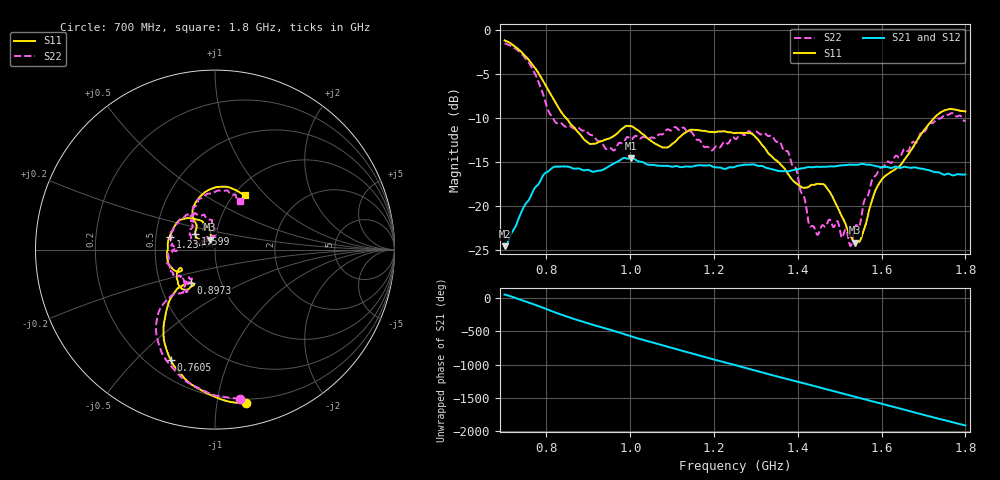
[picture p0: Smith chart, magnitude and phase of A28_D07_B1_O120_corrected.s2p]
! Created with skrf 1.9.0 (http://scikit-rf.org).
# Hz S RI R 50.0
!freq ReS11 ImS11 ReS21 ImS21 ReS12 ImS12 ReS22 ImS22
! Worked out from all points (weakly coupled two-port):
!   1601 points, 700 MHz to 1.8 GHz, reference 50 ohm
!   highest |S21| = -14.55 dB at 1.002 GHz (marker M1); lowest = -24.6 dB at 700 MHz (marker M2)
!   lowest |S11| = -24.2 dB at 1.537 GHz (marker M3), VSWR 1.13, Z = 47 + j5.18 ohm
!   |S11| at or under -10 dB: 846.7 MHz to 1.725 GHz (878.7 MHz wide, 68.3 % of centre)
!   |S22| runs from -24.6 to -1.5 dB; largest |S21 - S12| = 0.0035
!   S11 on the Smith chart (normalised r, x): 700 MHz: 0.17, -1.21; 760.5 MHz: 0.29, -0.64; 897.3 MHz: 0.71, -0.28; 1.234 GHz: 0.59, +0.09; 1.599 GHz: 0.79, +0.14; 1.8 GHz: 1.12, +0.77
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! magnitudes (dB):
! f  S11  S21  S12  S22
! 700 MHz  -1.2  -24.6  -24.4  -1.5
! 760.5 MHz  -3.6  -19.1  -19.0  -3.9
! 819.6 MHz  -8.1  -15.5  -15.6  -10.4
! 883.6 MHz  -12.1  -15.9  -15.8  -11.4
! 897.3 MHz  -12.7  -15.9  -16.0  -11.6
! 959.2 MHz  -12.1  -15.2  -15.2  -13.7
! 1.002 GHz  -10.9  -14.5  -14.7  -12.4
! 1.067 GHz  -13.1  -15.4  -15.4  -11.9
! 1.234 GHz  -11.6  -15.7  -15.7  -12.9
! 1.25 GHz  -11.7  -15.6  -15.5  -12.4
! 1.292 GHz  -11.8  -15.3  -15.3  -11.8
! 1.357 GHz  -15.2  -16.1  -16.0  -12.7
! 1.396 GHz  -17.4  -15.9  -15.9  -15.8
! 1.434 GHz  -17.6  -15.6  -15.6  -22.3
! 1.469 GHz  -18.0  -15.5  -15.5  -22.1
! 1.526 GHz  -23.4  -15.3  -15.3  -24.6
! 1.537 GHz  -24.2  -15.3  -15.3  -22.4
! 1.551 GHz  -23.7  -15.2  -15.3  -21.4
! 1.599 GHz  -17.1  -15.6  -15.6  -15.6
! 1.617 GHz  -16.3  -15.6  -15.6  -15.0
! 1.735 GHz  -9.6  -16.2  -16.2  -10.1
! 1.8 GHz  -9.3  -16.4  -16.4  -10.3
